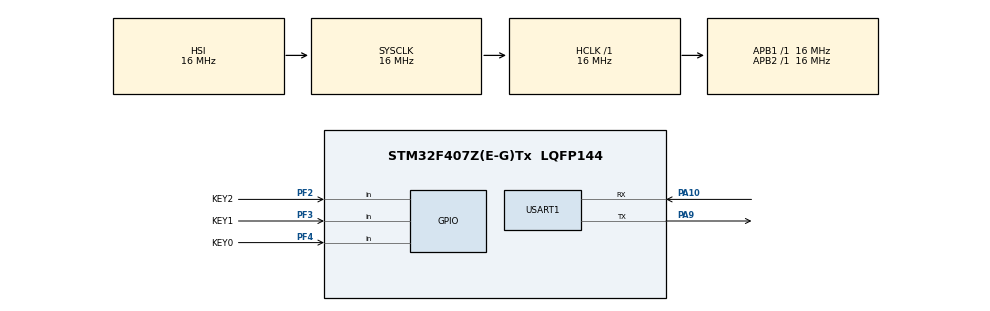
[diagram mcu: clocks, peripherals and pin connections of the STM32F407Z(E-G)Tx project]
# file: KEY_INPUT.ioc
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Mcu.Family=STM32F4
Mcu.Name=STM32F407Z(E-G)Tx
Mcu.Package=LQFP144
NVIC.PriorityGroup=NVIC_PRIORITYGROUP_4
PA10.Mode=Asynchronous
PA10.Signal=USART1_RX
PA9.Mode=Asynchronous
PA9.Signal=USART1_TX
PF2.GPIO_Label=KEY2
PF2.GPIO_PuPd=GPIO_PULLUP
PF2.Signal=GPIO_Input
PF3.GPIO_Label=KEY1
PF3.GPIO_PuPd=GPIO_PULLUP
PF3.Signal=GPIO_Input
PF4.GPIO_Label=KEY0
PF4.GPIO_PuPd=GPIO_PULLUP
PF4.Signal=GPIO_Input
ProjectManager.HeapSize=0x200
ProjectManager.StackSize=0x400
ProjectManager.TargetToolchain=SW4STM32
RCC.AHBFreq_Value=16000000
RCC.APB1Freq_Value=16000000
RCC.APB2Freq_Value=16000000
RCC.CortexFreq_Value=16000000
RCC.HSE_VALUE=25000000
RCC.HSI_VALUE=16000000
RCC.LSE_VALUE=32768
RCC.SYSCLKFreq_VALUE=16000000
RCC.VCOOutputFreq_Value=192000000
USART1.VirtualMode=VM_ASYNC
board=KEY_INPUT

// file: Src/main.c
/**
  ******************************************************************************
  * File Name          : main.c
  * Description        : Main program body
  ******************************************************************************
  ** This notice applies to any and all portions of this file
  * that are not between comment pairs USER CODE BEGIN and
  * USER CODE END. Other portions of this file, whether
  * inserted by the user or by software development tools
  * are owned by their respective copyright owners.
  *
  * COPYRIGHT(c) 2017 STMicroelectronics
  *
  * Redistribution and use in source and binary forms, with or without modification,
  * are permitted provided that the following conditions are met:
  *   1. Redistributions of source code must retain the above copyright notice,
  *      this list of conditions and the following disclaimer.
  *   2. Redistributions in binary form must reproduce the above copyright notice,
  *      this list of conditions and the following disclaimer in the documentation
  *      and/or other materials provided with the distribution.
  *   3. Neither the name of STMicroelectronics nor the names of its contributors
  *      may be used to endorse or promote products derived from this software
  *      without specific prior written permission.
  *
  * THIS SOFTWARE IS PROVIDED BY THE COPYRIGHT HOLDERS AND CONTRIBUTORS "AS IS"
  * AND ANY EXPRESS OR IMPLIED WARRANTIES, INCLUDING, BUT NOT LIMITED TO, THE
  * IMPLIED WARRANTIES OF MERCHANTABILITY AND FITNESS FOR A PARTICULAR PURPOSE ARE
  * DISCLAIMED. IN NO EVENT SHALL THE COPYRIGHT HOLDER OR CONTRIBUTORS BE LIABLE
  * FOR ANY DIRECT, INDIRECT, INCIDENTAL, SPECIAL, EXEMPLARY, OR CONSEQUENTIAL
  * DAMAGES (INCLUDING, BUT NOT LIMITED TO, PROCUREMENT OF SUBSTITUTE GOODS OR
  * SERVICES; LOSS OF USE, DATA, OR PROFITS; OR BUSINESS INTERRUPTION) HOWEVER
  * CAUSED AND ON ANY THEORY OF LIABILITY, WHETHER IN CONTRACT, STRICT LIABILITY,
  * OR TORT (INCLUDING NEGLIGENCE OR OTHERWISE) ARISING IN ANY WAY OUT OF THE USE
  * OF THIS SOFTWARE, EVEN IF ADVISED OF THE POSSIBILITY OF SUCH DAMAGE.
  *
  ******************************************************************************
  */
#include "main.h"
#include "stm32f4xx_hal.h"
#include "key.h"

UART_HandleTypeDef huart1;

/* USER CODE BEGIN PV */
/* Private variables ---------------------------------------------------------*/

/* USER CODE END PV */

void SystemClock_Config(void);
static void MX_GPIO_Init(void);
static void MX_USART1_UART_Init(void);

/* USER CODE BEGIN PFP */
/* Private function prototypes -----------------------------------------------*/

/* USER CODE END PFP */

int main(void)
{

  /* USER CODE BEGIN 1 */
	volatile uint8_t key_value;

  /* USER CODE END 1 */

  /* MCU Configuration----------------------------------------------------------*/

  /* Reset of all peripherals, Initializes the Flash interface and the Systick. */
  HAL_Init();

  /* Configure the system clock */
  SystemClock_Config();

  /* Initialize all configured peripherals */
  MX_GPIO_Init();
  MX_USART1_UART_Init();

  /* Infinite loop */
  while (1)
  {

  /* USER CODE BEGIN 3 */
	  if(key_scan_flag){
		  key_value=key_scan();
		  switch(key_value){
			  case KEY_0_PRESS:
				  HAL_UART_Transmit(&huart1,"KEY_0\r\n",7,10);
				  break;
			  case KEY_1_PRESS:
				  HAL_UART_Transmit(&huart1,"KEY_1\r\n",7,10);
				  break;
			  case KEY_2_PRESS:
				  HAL_UART_Transmit(&huart1,"KEY_2\r\n",7,10);
				  break;
			  default:
				  break;

		  }

	  }

  }
  /* USER CODE END 3 */

}

/** System Clock Configuration
*/
void SystemClock_Config(void)
{

  RCC_OscInitTypeDef RCC_OscInitStruct;
  RCC_ClkInitTypeDef RCC_ClkInitStruct;

    /**Configure the main internal regulator output voltage
    */
  __HAL_RCC_PWR_CLK_ENABLE();

  __HAL_PWR_VOLTAGESCALING_CONFIG(PWR_REGULATOR_VOLTAGE_SCALE1);

    /**Initializes the CPU, AHB and APB busses clocks
    */
  RCC_OscInitStruct.OscillatorType = RCC_OSCILLATORTYPE_HSI;
  RCC_OscInitStruct.HSIState = RCC_HSI_ON;
  RCC_OscInitStruct.HSICalibrationValue = 16;
  RCC_OscInitStruct.PLL.PLLState = RCC_PLL_NONE;
  if (HAL_RCC_OscConfig(&RCC_OscInitStruct) != HAL_OK)
  {
    _Error_Handler(__FILE__, __LINE__);
  }

    /**Initializes the CPU, AHB and APB busses clocks
    */
  RCC_ClkInitStruct.ClockType = RCC_CLOCKTYPE_HCLK|RCC_CLOCKTYPE_SYSCLK
                              |RCC_CLOCKTYPE_PCLK1|RCC_CLOCKTYPE_PCLK2;
  RCC_ClkInitStruct.SYSCLKSource = RCC_SYSCLKSOURCE_HSI;
  RCC_ClkInitStruct.AHBCLKDivider = RCC_SYSCLK_DIV1;
  RCC_ClkInitStruct.APB1CLKDivider = RCC_HCLK_DIV1;
  RCC_ClkInitStruct.APB2CLKDivider = RCC_HCLK_DIV1;

  if (HAL_RCC_ClockConfig(&RCC_ClkInitStruct, FLASH_LATENCY_0) != HAL_OK)
  {
    _Error_Handler(__FILE__, __LINE__);
  }

    /**Configure the Systick interrupt time
    */
  HAL_SYSTICK_Config(HAL_RCC_GetHCLKFreq()/1000);

    /**Configure the Systick
    */
  HAL_SYSTICK_CLKSourceConfig(SYSTICK_CLKSOURCE_HCLK);

  /* SysTick_IRQn interrupt configuration */
  HAL_NVIC_SetPriority(SysTick_IRQn, 0, 0);
}

/* USART1 init function */
static void MX_USART1_UART_Init(void)
{

  huart1.Instance = USART1;
  huart1.Init.BaudRate = 115200;
  huart1.Init.WordLength = UART_WORDLENGTH_8B;
  huart1.Init.StopBits = UART_STOPBITS_1;
  huart1.Init.Parity = UART_PARITY_NONE;
  huart1.Init.Mode = UART_MODE_TX_RX;
  huart1.Init.HwFlowCtl = UART_HWCONTROL_NONE;
  huart1.Init.OverSampling = UART_OVERSAMPLING_16;
  if (HAL_UART_Init(&huart1) != HAL_OK)
  {
    _Error_Handler(__FILE__, __LINE__);
  }

}

/** Configure pins as
        * Analog
        * Input
        * Output
        * EVENT_OUT
        * EXTI
*/
static void MX_GPIO_Init(void)
{

  GPIO_InitTypeDef GPIO_InitStruct;

  /* GPIO Ports Clock Enable */
  __HAL_RCC_GPIOF_CLK_ENABLE();
  __HAL_RCC_GPIOA_CLK_ENABLE();

  /*Configure GPIO pins : KEY2_Pin KEY1_Pin KEY0_Pin */
  GPIO_InitStruct.Pin = KEY2_Pin|KEY1_Pin|KEY0_Pin;
  GPIO_InitStruct.Mode = GPIO_MODE_INPUT;
  GPIO_InitStruct.Pull = GPIO_PULLUP;
  HAL_GPIO_Init(GPIOF, &GPIO_InitStruct);

}

/* USER CODE BEGIN 4 */

/**
 * breaf:HAL_SYSTICK_Callback,系统滴答回调函数，１ms执行一次
 */
void HAL_SYSTICK_Callback(void)
{
	static uint8_t tick_cnt = 0;

	tick_cnt++;
	if(10 == tick_cnt){
		tick_cnt = 0;
		key_scan_flag = 1;
	}
}
/* USER CODE END 4 */

void _Error_Handler(char * file, int line)
{
  while(1)
  {
  }
}

/************************ (C) COPYRIGHT STMicroelectronics *****END OF FILE****/
